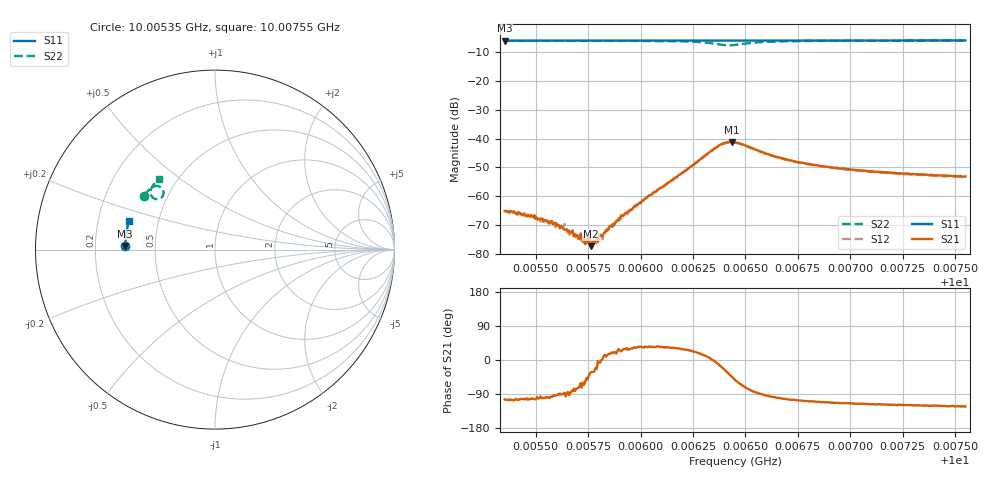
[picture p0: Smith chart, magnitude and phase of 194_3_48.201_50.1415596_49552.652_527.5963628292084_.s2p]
#  HZ  S  RI  R  50.00
! Rohde & Schwarz Vector Network Analyzer
! Rohde-Schwarz,ZNB20-2Port,1311601062101988,3.16
! Created: UTC 3/20/2024, 11:44:46 AM
! freq[Hz]  re:S11  im:S11  re:S21  im:S21  re:S12  im:S12  re:S22  im:S22
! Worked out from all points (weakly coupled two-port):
!   401 points, 10.00535 GHz to 10.00755 GHz, reference 50 ohm
!   highest |S21| = -41.14 dB at 10.00643 GHz (marker M1); lowest = -77.3 dB at 10.00576 GHz (marker M2)
!   lowest |S11| = -6.0 dB at 10.00535 GHz (marker M3), VSWR 3.00, Z = 16.7 + j0.908 ohm
!   |S11| at or under -10 dB: nowhere
!   |S22| runs from -7.6 to -6.0 dB; largest |S21 - S12| = 0.00051
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1.0005351e10  -0.4998 0.0204  -0.000132 -0.000538  -9.7e-05 -0.000538  -0.396 0.2988
1.0005483e10  -0.4997 0.029  -8.67e-05 -0.000442  -7.96e-05 -0.000444  -0.3905 0.3064
1.0005577e10  -0.4996 0.0352  -4.95e-05 -0.000366  -2.39e-05 -0.000334  -0.3862 0.3122
1.0005632e10  -0.4994 0.0387  5.9e-06 -0.000269  2.1e-05 -0.000286  -0.3836 0.3156
1.0005653e10  -0.4994 0.0401  2.38e-05 -0.000238  2.55e-05 -0.000249  -0.3827 0.3168
1.0005719e10  -0.4992 0.0444  6.06e-05 -0.000193  5.97e-05 -0.000137  -0.3792 0.3209
1.0005736e10  -0.4991 0.0453  7.94e-05 -0.000123  0.000103 -0.000135  -0.3783 0.322
1.0005763e10  -0.4989 0.0472  0.000115 -7.26e-05  0.000131 -7.13e-05  -0.3769 0.3237
1.0005769e10  -0.4989 0.0475  0.000139 -8.59e-05  0.000146 -6.95e-05  -0.3765 0.324
1.0005785e10  -0.4987 0.0486  0.00016 -6e-05  0.000144 -9.73e-06  -0.3757 0.3251
1.0005802e10  -0.4987 0.0499  0.000217 -2.17e-05  0.000208 -1.74e-05  -0.3747 0.3261
1.0005824e10  -0.4986 0.0511  0.000223 4e-05  0.000221 1.63e-05  -0.3734 0.3276
1.0005846e10  -0.4985 0.0527  0.000258 6.78e-05  0.00026 3.82e-05  -0.3722 0.3289
1.0005917e10  -0.4982 0.0571  0.000397 0.000217  0.000399 0.00023  -0.3675 0.3338
1.0006088e10  -0.4971 0.0682  0.00108 0.000782  0.00103 0.000791  -0.3527 0.3458
1.0006362e10  -0.4942 0.0858  0.0071 -0.00096  0.00696 -0.000566  -0.2883 0.3295
1.0006434e10  -0.4936 0.0899  0.0063 -0.00609  0.00647 -0.00563  -0.3041 0.2856
1.000645e10  -0.4935 0.0908  0.00528 -0.00685  0.00551 -0.00641  -0.3148 0.2814
1.0006648e10  -0.492 0.1033  -0.000769 -0.00477  -0.000543 -0.00473  -0.3594 0.3243
1.0006818e10  -0.49 0.1144  -0.00116 -0.00334  -0.00102 -0.00334  -0.3522 0.3466
1.0007187e10  -0.4849 0.1376  -0.00119 -0.00227  -0.00107 -0.00227  -0.3327 0.373
1.0007549e10  -0.4787 0.1601  -0.0012 -0.00185  -0.00108 -0.00189  -0.314 0.3918
